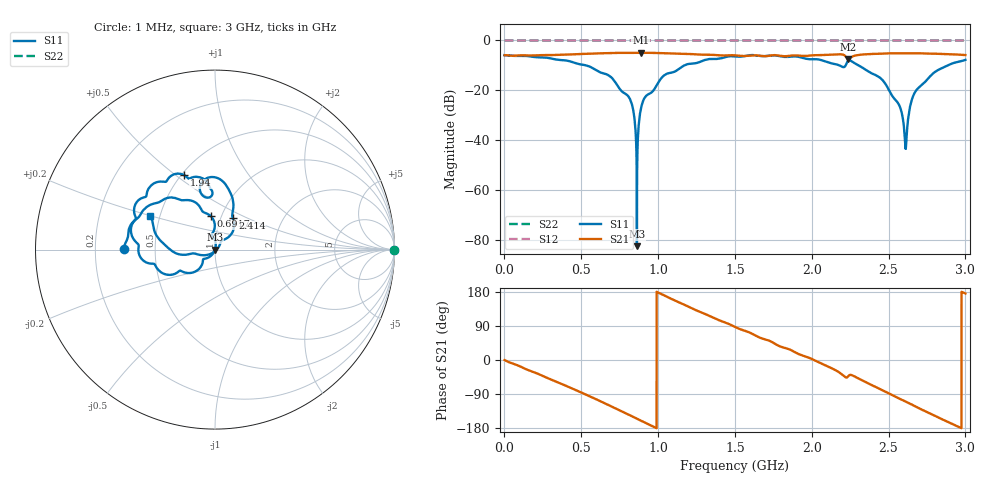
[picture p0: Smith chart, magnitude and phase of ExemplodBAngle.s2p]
! COPPER MOUNTAIN TECHNOLOGIES, TR5048, 17097159, 18.1.2/2.0
! Date: 05/03/2018 15:10:04
! Data: Format [Calibration Info]
! Freq  S11: dB/Ang OP  S21: dB/Ang OP  S12: dB/Ang  S22: dB/Ang
# HZ S DB R 50
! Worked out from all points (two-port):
!   10000 points, 1 MHz to 3 GHz, reference 50 ohm
!   highest |S21| = -4.91 dB at 886.4 MHz (marker M1); lowest = -7.4 dB at 2.238 GHz (marker M2)
!   |S21| within 3 dB of the highest: start of sweep to end of sweep
!   lowest |S11| = -82.4 dB at 862.1 MHz (marker M3), VSWR 1.00, Z = 50 + j0.00497 ohm
!   |S11| at or under -10 dB: 532.3 MHz to 1.17 GHz (637.6 MHz wide, 74.9 % of centre); 2.18 GHz to 2.221 GHz (40.28 MHz wide, 1.83 % of centre); 2.306 GHz to 2.885 GHz (579.1 MHz wide, 22.3 % of centre)
!   |S22| runs from 0.0 to 0.0 dB; largest |S21 - S12| = 1.6
!   S11 on the Smith chart (normalised r, x): 1 MHz: 0.33, +0.00; 691.7 MHz: 0.89, +0.34; 1.94 GHz: 0.52, +0.54; 2.414 GHz: 1.13, +0.42; 3 GHz: 0.44, +0.20
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1000000  -5.87 179.8  -5.89 -0.3  0.00 0.0  0.00 0.0
5.009833e8  -9.64 123.5  -5.41 -85.9  0.00 0.0  0.00 0.0
6.917388e8  -14.57 97.0  -5.05 -121.7  0.00 0.0  0.00 0.0
8.19209e8  -23.75 95.1  -4.94 -146.5  0.00 0.0  0.00 0.0
8.62099e8  -82.37 40.8  -4.92 -154.8  0.00 0.0  0.00 0.0
8.725966e8  -34.74 -114.4  -4.92 -156.9  0.00 0.0  0.00 0.0
8.863933e8  -27.81 -122.6  -4.91 -159.6  0.00 0.0  0.00 0.0
9.13387e8  -22.86 -136.1  -4.93 -165.0  0.00 0.0  0.00 0.0
1.000667e9  -16.92 -129.8  -5.03 178.0  0.00 0.0  0.00 0.0
1.183324e9  -9.65 -158.1  -5.39 143.5  0.00 0.0  0.00 0.0
1.50065e9  -6.39 161.0  -5.95 87.3  0.00 0.0  0.00 0.0
1.939747e9  -6.96 112.5  -6.18 11.8  0.00 0.0  0.00 0.0
2.000633e9  -7.51 109.2  -5.97 2.6  0.00 0.0  0.00 0.0
2.237878e9  -8.01 97.6  -7.43 -42.5  0.00 0.0  0.00 0.0
2.414237e9  -13.83 61.1  -5.36 -71.0  0.00 0.0  0.00 0.0
2.500317e9  -19.60 42.8  -5.17 -87.7  0.00 0.0  0.00 0.0
2.5732e9  -26.46 50.4  -5.15 -102.5  0.00 0.0  0.00 0.0
2.610991e9  -43.28 -41.6  -5.15 -109.6  0.00 0.0  0.00 0.0
2.646682e9  -24.70 -148.3  -5.11 -116.7  0.00 0.0  0.00 0.0
2.684774e9  -19.63 -166.1  -5.12 -124.5  0.00 0.0  0.00 0.0
2.814343e9  -12.10 -179.6  -5.34 -149.8  0.00 0.0  0.00 0.0
3e9  -7.79 152.5  -5.84 175.6  0.00 0.0  0.00 0.0
